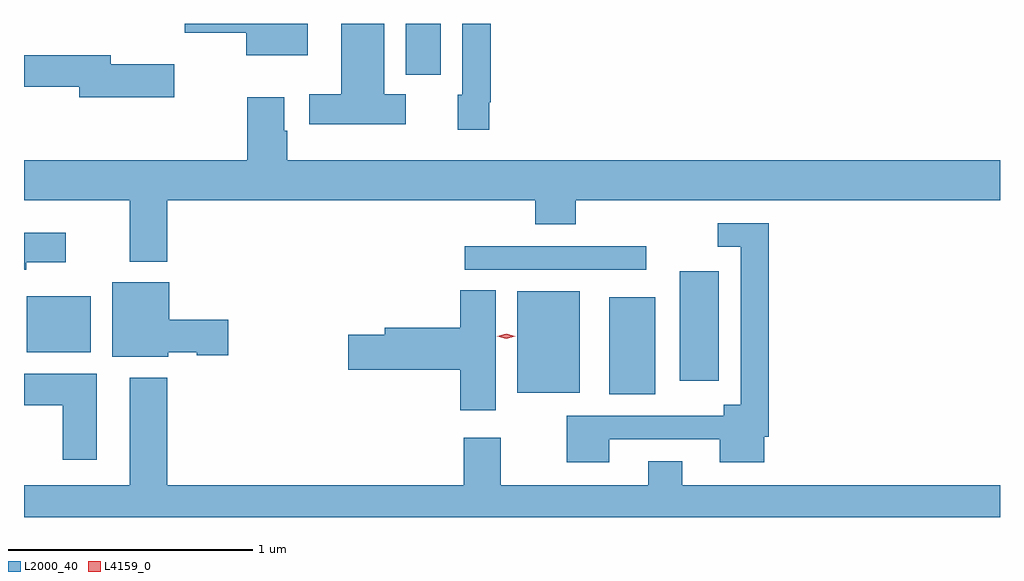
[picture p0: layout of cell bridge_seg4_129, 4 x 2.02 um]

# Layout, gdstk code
import gdstk
lib = gdstk.Library(unit=1e-6, precision=1e-09)
def R(c, l, rs):  # rectangles x0, y0, x1, y1
    for r in rs: c.add(gdstk.rectangle(r[:2], r[2:], *l))
def P(c, l, *ps):  # polygons
    for p in ps: c.add(gdstk.Polygon(p, *l))
L2000_40 = (2000, 40)
L4159_0 = (4159, 0)

bridge_seg4_129 = lib.new_cell('bridge_seg4_129')
R(bridge_seg4_129, L2000_40, [(339.788,749.405,339.976,749.803), (339.41,749.411,339.667,749.827), (340.076,749.46,340.237,749.908), (337.4,749.576,337.663,749.806), (339.195,749.916,339.94,750.012), (338.954,750.715,339.097,750.924)])
P(bridge_seg4_129, L2000_40, [(339.295,750.601),(339.302,750.601),(339.302,750.924),(339.186,750.924),(339.186,750.633),(339.167,750.633),(339.167,750.489),(339.295,750.489)],
  [(338.954,750.634),(338.866,750.634),(338.866,750.924),(338.69,750.924),(338.69,750.634),(338.559,750.634),(338.559,750.512),(338.954,750.512)],
  [(338.551,750.924),(338.048,750.924),(338.048,750.887),(338.3,750.887),(338.3,750.794),(338.551,750.794)],
  [(338.005,750.758),(337.744,750.758),(337.744,750.794),(337.389,750.794),(337.389,750.666),(337.616,750.666),(337.616,750.623),(338.005,750.623)],
  [(337.976,750.2),(339.485,750.2),(339.485,750.101),(339.65,750.101),(339.65,750.2),(341.389,750.2),(341.389,750.364),(338.468,750.364),(338.468,750.485),(338.455,750.485),(338.455,750.622),(338.303,750.622),(338.303,750.364),(337.389,750.364),(337.389,750.2),(337.823,750.2),(337.823,749.948),(337.976,749.948)],
  [(339.787,749.22),(340.241,749.22),(340.241,749.126),(340.423,749.126),(340.423,749.23),(340.442,749.23),(340.442,750.105),(340.233,750.105),(340.233,750.009),(340.326,750.009),(340.326,749.362),(340.256,749.362),(340.256,749.316),(339.614,749.316),(339.614,749.126),(339.787,749.126)],
  [(337.399,749.945),(337.561,749.945),(337.561,750.067),(337.389,750.067),(337.389,749.915),(337.399,749.915)],
  [(337.98,749.576),(338.097,749.576),(338.097,749.564),(338.227,749.564),(338.227,749.711),(337.984,749.711),(337.984,749.863),(337.751,749.863),(337.751,749.558),(337.98,749.558)],
  [(339.322,749.831),(339.176,749.831),(339.176,749.678),(338.867,749.678),(338.867,749.648),(338.718,749.648),(338.718,749.506),(339.176,749.506),(339.176,749.34),(339.322,749.34)],
  [(337.687,749.488),(337.389,749.488),(337.389,749.36),(337.547,749.36),(337.547,749.136),(337.687,749.136)],
  [(341.389,749.032),(340.087,749.032),(340.087,749.131),(339.947,749.131),(339.947,749.032),(339.343,749.032),(339.343,749.227),(339.191,749.227),(339.191,749.032),(337.976,749.032),(337.976,749.473),(337.823,749.473),(337.823,749.032),(337.389,749.032),(337.389,748.9),(341.389,748.9)])
P(bridge_seg4_129, L4159_0, [(339.365,749.632),(339.328,749.642),(339.328,749.642),(339.328,749.642),(339.365,749.652),(339.402,749.642),(339.402,749.642),(339.402,749.642)])

lib.write_gds('bridge_seg4_129.gds')
